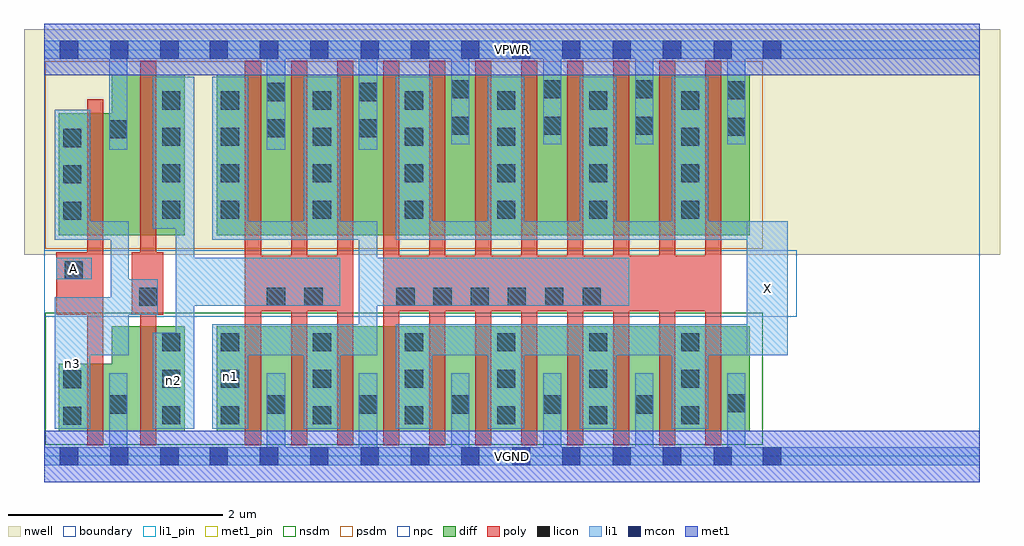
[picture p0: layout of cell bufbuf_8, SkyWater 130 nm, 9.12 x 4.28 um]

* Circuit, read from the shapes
.subckt bufbuf_8 A VGND VPWR X n1 n2 n3
XM1 VGND A n3 VSUBS sky130_fd_pr__nfet_01v8 w=0.63 l=0.15
XM2 n2 n3 VGND VSUBS sky130_fd_pr__nfet_01v8 w=0.98 l=0.15
XM3 VGND n2 n1 VSUBS sky130_fd_pr__nfet_01v8 w=0.98 l=0.15 m=3
XM4 X n1 VGND VSUBS sky130_fd_pr__nfet_01v8 w=0.98 l=0.15 m=8
XM5 VPWR A n3 n4 sky130_fd_pr__pfet_01v8 w=1.14 l=0.15
XM6 n2 n3 VPWR n4 sky130_fd_pr__pfet_01v8 w=1.5 l=0.15
XM7 VPWR n2 n1 n4 sky130_fd_pr__pfet_01v8 w=1.5 l=0.15 m=3
XM8 X n1 VPWR n4 sky130_fd_pr__pfet_01v8 w=1.5 l=0.15 m=8
.ends

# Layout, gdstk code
import gdstk
lib = gdstk.Library(unit=1e-6, precision=1e-09)
def R(c, l, rs):  # rectangles x0, y0, x1, y1
    for r in rs: c.add(gdstk.rectangle(r[:2], r[2:], *l))
def A(c, l, x, y, w, h, nx, ny, dx, dy):  # array of equal rectangles
    R(c, l, [(x+i*dx, y+j*dy, x+i*dx+w, y+j*dy+h) for i in range(nx) for j in range(ny)])
nwell = (64, 20)
diff = (65, 20)
poly = (66, 20)
licon = (66, 44)
li1_pin = (67, 16)
li1 = (67, 20)
mcon = (67, 44)
met1_pin = (68, 16)
met1 = (68, 20)
nsdm = (93, 44)
psdm = (94, 20)
npc = (95, 20)
boundary = (235, 4)

bufbuf_8 = lib.new_cell('bufbuf_8')
R(bufbuf_8, nwell, [(-0.19,1.885,8.93,3.99), (0,1.885,8.74,3.99)])
R(bufbuf_8, diff, [(0.135,0.235,1.31,0.865), (0.63,0.235,1.31,1.215), (1.61,0.235,6.59,1.215), (0.135,2.065,1.31,3.205), (0.63,2.065,1.31,3.565), (1.61,2.065,6.59,3.565)])
A(bufbuf_8, poly, 1.875, 0.105, 0.15, 3.59, 11, 1, 0.43, 0)
R(bufbuf_8, poly, [(0.4,0.105,0.55,3.335), (0.895,0.105,1.045,3.695), (0.11,1.325,0.55,1.905), (0.815,1.325,1.11,1.905), (1.875,1.355,2.885,1.875), (3.165,1.355,6.325,1.875)])
A(bufbuf_8, licon, 1.1, 0.3, 0.17, 0.17, 1, 3, 0, 0.34)
A(bufbuf_8, licon, 1.65, 0.3, 0.17, 0.17, 6, 3, 0.86, 0.34)
A(bufbuf_8, licon, 2.08, 0.4, 0.17, 0.17, 5, 1, 0.86, 0)
A(bufbuf_8, licon, 4.33, 1.405, 0.17, 0.17, 3, 1, 0.35, 0)
A(bufbuf_8, licon, 0.175, 2.21, 0.17, 0.17, 1, 3, 0, 0.34)
A(bufbuf_8, licon, 1.1, 2.22, 0.17, 0.17, 1, 4, 0, 0.34)
A(bufbuf_8, licon, 1.65, 2.22, 0.17, 0.17, 6, 4, 0.86, 0.34)
A(bufbuf_8, licon, 3.8, 3.005, 0.17, 0.17, 3, 2, 0.86, 0.34)
R(bufbuf_8, licon, [(0.175,0.295,0.345,0.465), (0.605,0.4,0.775,0.57), (6.38,0.41,6.55,0.58), (0.175,0.635,0.345,0.805), (0.885,1.405,1.055,1.575), (2.08,1.405,2.25,1.575), (2.43,1.405,2.6,1.575), (3.29,1.405,3.46,1.575), (3.635,1.405,3.805,1.575), (3.985,1.405,4.155,1.575), (0.19,1.655,0.36,1.825), (0.605,2.97,0.775,3.14), (2.08,2.98,2.25,3.15), (2.94,2.98,3.11,3.15), (6.38,2.995,6.55,3.165), (2.08,3.32,2.25,3.49), (2.94,3.32,3.11,3.49), (6.38,3.335,6.55,3.505)])
R(bufbuf_8, li1_pin, [(6.565,0.945,6.945,2.195), (0.11,1.655,0.445,1.855)])
A(bufbuf_8, li1, 2.08, -0.085, 0.17, 0.86, 6, 1, 0.86, 0)
A(bufbuf_8, li1, 2.425, 0.26, 0.34, 0.975, 5, 1, 0.86, 0)
A(bufbuf_8, li1, 2.425, 2.025, 0.34, 1.52, 5, 1, 0.86, 0)
A(bufbuf_8, li1, 3.8, 2.915, 0.17, 0.97, 4, 1, 0.86, 0)
R(bufbuf_8, li1, [(0,-0.085,8.74,0.085), (0.605,-0.085,0.775,0.775), (0.095,0.26,0.43,1.485), (1.015,0.26,1.4,1.155), (1.23,0.26,1.4,3.545), (1.57,0.26,1.905,1.235), (0.095,0.945,0.79,1.485), (0.62,0.945,0.79,2.195), (1.57,0.945,3.11,1.235), (2.94,0.945,3.11,2.195), (3.285,0.945,6.945,1.235), (6.565,0.945,6.945,2.195), (0.62,1.325,1.06,1.655), (1.23,1.405,2.765,1.855), (2.94,1.405,5.465,1.855), (0.11,1.655,0.445,1.855), (0.095,2.025,0.43,3.24), (0.095,2.025,0.79,2.195), (1.57,2.025,1.905,3.545), (1.57,2.025,3.11,2.195), (3.285,2.025,6.945,2.195), (1.015,2.125,1.4,3.545), (0.605,2.865,0.775,3.885), (2.08,2.865,2.25,3.885), (2.94,2.865,3.11,3.885), (0,3.715,8.74,3.885)])
A(bufbuf_8, mcon, 0.145, -0.085, 0.17, 0.17, 3, 2, 0.47, 3.8)
A(bufbuf_8, mcon, 1.545, -0.085, 0.17, 0.17, 6, 2, 0.47, 3.8)
A(bufbuf_8, mcon, 4.37, -0.085, 0.17, 0.17, 4, 2, 0.47, 3.8)
R(bufbuf_8, mcon, [(6.255,-0.085,6.425,0.085), (6.715,-0.085,6.885,0.085), (6.255,3.715,6.425,3.885), (6.715,3.715,6.885,3.885)])
R(bufbuf_8, met1_pin, [(0,-0.24,8.74,0.24), (0,3.56,8.74,4.04)])
R(bufbuf_8, met1, [(0,-0.24,8.74,0.24), (0,3.56,8.74,4.04)])
R(bufbuf_8, nsdm, [(0.01,0.11,6.715,1.34)])
R(bufbuf_8, psdm, [(0.01,1.94,6.715,3.69)])
R(bufbuf_8, npc, [(0,1.305,7.03,1.925)])
R(bufbuf_8, boundary, [(0,0,8.74,3.8)])
bufbuf_8.add(gdstk.Label('A', (0.277,1.755), layer=67, texttype=5))
bufbuf_8.add(gdstk.Label('X', (6.755,1.57), layer=67, texttype=5))
bufbuf_8.add(gdstk.Label('n3', (0.262,0.872), layer=67, texttype=5))
bufbuf_8.add(gdstk.Label('n2', (1.207,0.707), layer=67, texttype=5))
bufbuf_8.add(gdstk.Label('n1', (1.737,0.747), layer=67, texttype=5))
bufbuf_8.add(gdstk.Label('VPWR', (4.37,3.8), layer=68, texttype=5))
bufbuf_8.add(gdstk.Label('VGND', (4.37,0), layer=68, texttype=5))
bufbuf_8.add(gdstk.Label('A', (0.277,1.755), layer=67, texttype=16))
bufbuf_8.add(gdstk.Label('X', (6.755,1.57), layer=67, texttype=16))
bufbuf_8.add(gdstk.Label('VPWR', (4.37,3.8), layer=68, texttype=16))
bufbuf_8.add(gdstk.Label('VGND', (4.37,0), layer=68, texttype=16))

lib.write_gds('bufbuf_8.gds')
